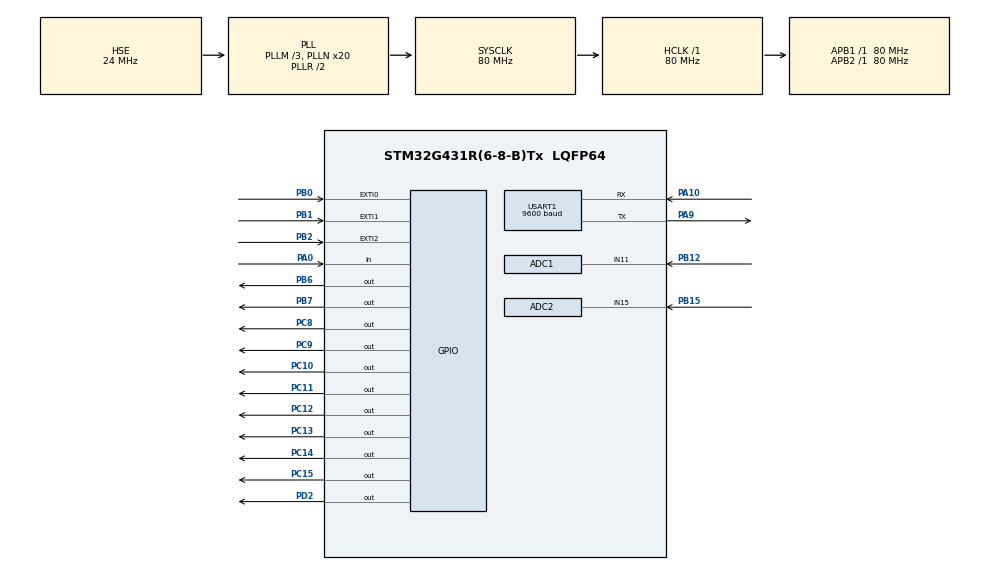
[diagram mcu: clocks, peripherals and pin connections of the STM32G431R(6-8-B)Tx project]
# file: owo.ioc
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ADC1.Channel-0\#ChannelRegularConversion=ADC_CHANNEL_11
ADC1.NbrOfConversionFlag=1
ADC1.OffsetNumber-0\#ChannelRegularConversion=ADC_OFFSET_NONE
ADC1.Rank-0\#ChannelRegularConversion=1
ADC1.SamplingTime-0\#ChannelRegularConversion=ADC_SAMPLETIME_2CYCLES_5
ADC1.master=1
ADC2.Channel-0\#ChannelRegularConversion=ADC_CHANNEL_15
ADC2.NbrOfConversionFlag=1
ADC2.OffsetNumber-0\#ChannelRegularConversion=ADC_OFFSET_NONE
ADC2.Rank-0\#ChannelRegularConversion=1
ADC2.SamplingTime-0\#ChannelRegularConversion=ADC_SAMPLETIME_2CYCLES_5
Dma.Request0=USART1_TX
Dma.Request1=USART1_RX
Dma.USART1_RX.1.Direction=DMA_PERIPH_TO_MEMORY
Dma.USART1_RX.1.EventEnable=DISABLE
Dma.USART1_RX.1.Instance=DMA1_Channel2
Dma.USART1_RX.1.MemDataAlignment=DMA_MDATAALIGN_BYTE
Dma.USART1_RX.1.MemInc=DMA_MINC_ENABLE
Dma.USART1_RX.1.Mode=DMA_NORMAL
Dma.USART1_RX.1.PeriphDataAlignment=DMA_PDATAALIGN_BYTE
Dma.USART1_RX.1.PeriphInc=DMA_PINC_DISABLE
Dma.USART1_RX.1.Polarity=HAL_DMAMUX_REQ_GEN_RISING
Dma.USART1_RX.1.Priority=DMA_PRIORITY_LOW
Dma.USART1_RX.1.RequestNumber=1
Dma.USART1_RX.1.SignalID=NONE
Dma.USART1_RX.1.SyncEnable=DISABLE
Dma.USART1_RX.1.SyncPolarity=HAL_DMAMUX_SYNC_NO_EVENT
Dma.USART1_RX.1.SyncRequestNumber=1
Dma.USART1_RX.1.SyncSignalID=NONE
Dma.USART1_TX.0.Direction=DMA_MEMORY_TO_PERIPH
Dma.USART1_TX.0.EventEnable=DISABLE
Dma.USART1_TX.0.Instance=DMA1_Channel1
Dma.USART1_TX.0.MemDataAlignment=DMA_MDATAALIGN_BYTE
Dma.USART1_TX.0.MemInc=DMA_MINC_ENABLE
Dma.USART1_TX.0.Mode=DMA_NORMAL
Dma.USART1_TX.0.PeriphDataAlignment=DMA_PDATAALIGN_BYTE
Dma.USART1_TX.0.PeriphInc=DMA_PINC_DISABLE
Dma.USART1_TX.0.Polarity=HAL_DMAMUX_REQ_GEN_RISING
Dma.USART1_TX.0.Priority=DMA_PRIORITY_LOW
Dma.USART1_TX.0.RequestNumber=1
Dma.USART1_TX.0.SignalID=NONE
Dma.USART1_TX.0.SyncEnable=DISABLE
Dma.USART1_TX.0.SyncPolarity=HAL_DMAMUX_SYNC_NO_EVENT
Dma.USART1_TX.0.SyncRequestNumber=1
Dma.USART1_TX.0.SyncSignalID=NONE
Mcu.Family=STM32G4
Mcu.Name=STM32G431R(6-8-B)Tx
Mcu.Package=LQFP64
NVIC.DMA1_Channel1_IRQn=true\:0\:0\:false\:false\:true\:false\:true
NVIC.DMA1_Channel2_IRQn=true\:0\:0\:false\:false\:true\:false\:true
NVIC.EXTI0_IRQn=true\:14\:0\:true\:false\:true\:true\:true
NVIC.EXTI1_IRQn=true\:15\:0\:true\:false\:true\:true\:true
NVIC.EXTI2_IRQn=true\:15\:0\:true\:false\:true\:true\:true
NVIC.PriorityGroup=NVIC_PRIORITYGROUP_4
NVIC.TIM1_BRK_TIM15_IRQn=true\:0\:0\:false\:false\:true\:true\:true
NVIC.TIM3_IRQn=true\:0\:0\:false\:false\:true\:true\:true
NVIC.USART1_IRQn=true\:15\:0\:true\:false\:true\:true\:true
PA0.Signal=GPIO_Input
PA10.Mode=Asynchronous
PA10.Signal=USART1_RX
PA13.Mode=Serial_Wire
PA13.Signal=SYS_JTMS-SWDIO
PA14.Mode=Serial_Wire
PA14.Signal=SYS_JTCK-SWCLK
PA9.Mode=Asynchronous
PA9.Signal=USART1_TX
PB0.GPIO_ModeDefaultEXTI=GPIO_MODE_IT_FALLING
PB0.Signal=GPXTI0
PB1.GPIO_ModeDefaultEXTI=GPIO_MODE_IT_FALLING
PB1.Signal=GPXTI1
PB12.Mode=IN11-Single-Ended
PB12.Signal=ADC1_IN11
PB15.Mode=IN15-Single-Ended
PB15.Signal=ADC2_IN15
PB2.GPIO_ModeDefaultEXTI=GPIO_MODE_IT_FALLING
PB2.Signal=GPXTI2
PB6.Signal=GPIO_Output
PB7.Signal=GPIO_Output
PC10.GPIO_ModeDefaultOutputPP=GPIO_MODE_OUTPUT_PP
PC10.PinState=GPIO_PIN_SET
PC10.Signal=GPIO_Output
PC11.GPIO_ModeDefaultOutputPP=GPIO_MODE_OUTPUT_PP
PC11.PinState=GPIO_PIN_SET
PC11.Signal=GPIO_Output
PC12.GPIO_ModeDefaultOutputPP=GPIO_MODE_OUTPUT_PP
PC12.PinState=GPIO_PIN_SET
PC12.Signal=GPIO_Output
PC13.GPIO_ModeDefaultOutputPP=GPIO_MODE_OUTPUT_PP
PC13.PinState=GPIO_PIN_SET
PC13.Signal=GPIO_Output
PC14-OSC32_IN.GPIO_ModeDefaultOutputPP=GPIO_MODE_OUTPUT_PP
PC14-OSC32_IN.PinState=GPIO_PIN_SET
PC14-OSC32_IN.Signal=GPIO_Output
PC15-OSC32_OUT.GPIO_ModeDefaultOutputPP=GPIO_MODE_OUTPUT_PP
PC15-OSC32_OUT.PinState=GPIO_PIN_SET
PC15-OSC32_OUT.Signal=GPIO_Output
PC8.GPIO_ModeDefaultOutputPP=GPIO_MODE_OUTPUT_PP
PC8.PinState=GPIO_PIN_SET
PC8.Signal=GPIO_Output
PC9.GPIO_ModeDefaultOutputPP=GPIO_MODE_OUTPUT_PP
PC9.PinState=GPIO_PIN_SET
PC9.Signal=GPIO_Output
PD2.Signal=GPIO_Output
PF0-OSC_IN.Mode=HSE-External-Oscillator
PF0-OSC_IN.Signal=RCC_OSC_IN
PF1-OSC_OUT.Mode=HSE-External-Oscillator
PF1-OSC_OUT.Signal=RCC_OSC_OUT
ProjectManager.HeapSize=0x200
ProjectManager.StackSize=0x400
ProjectManager.TargetToolchain=MDK-ARM V5.32
RCC.ADC12Freq_Value=80000000
RCC.AHBFreq_Value=80000000
RCC.APB1Freq_Value=80000000
RCC.APB1TimFreq_Value=80000000
RCC.APB2Freq_Value=80000000
RCC.APB2TimFreq_Value=80000000
RCC.CortexFreq_Value=80000000
RCC.EXTERNAL_CLOCK_VALUE=12288000
RCC.HCLKFreq_Value=80000000
RCC.HSE_VALUE=24000000
RCC.HSI48_VALUE=48000000
RCC.HSI_VALUE=16000000
RCC.LSE_VALUE=32768
RCC.PLLM=RCC_PLLM_DIV3
RCC.PLLN=20
RCC.PLLSourceVirtual=RCC_PLLSOURCE_HSE
RCC.SYSCLKFreq_VALUE=80000000
RCC.SYSCLKSource=RCC_SYSCLKSOURCE_PLLCLK
RCC.USBFreq_Value=80000000
RCC.VCOOutputFreq_Value=160000000
TIM15.PeriodNoDither=9999
TIM15.Prescaler=7999
TIM3.PeriodNoDither=10000
TIM3.Prescaler=79
USART1.BaudRate=9600
USART1.VirtualMode-Asynchronous=VM_ASYNC
VP_SYS_VS_DBSignals.Mode=DisableDeadBatterySignals
VP_TIM15_VS_ClockSourceINT.Mode=Internal
VP_TIM3_VS_ClockSourceINT.Mode=Internal
board=custom

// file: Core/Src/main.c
/* USER CODE BEGIN Header */
/**
  ******************************************************************************
  * @file           : main.c
  * @brief          : Main program body
  ******************************************************************************
  * @attention
  *
  * <h2><center>&copy; Copyright (c) 2024 STMicroelectronics.
  * All rights reserved.</center></h2>
  *
  * This software component is licensed by ST under BSD 3-Clause license,
  * the "License"; You may not use this file except in compliance with the
  * License. You may obtain a copy of the License at:
  *                        opensource.org/licenses/BSD-3-Clause
  *
  ******************************************************************************
  */
/* USER CODE END Header */
#include "main.h"
#include "adc.h"
#include "dma.h"
#include "tim.h"
#include "usart.h"
#include "gpio.h"

/* USER CODE BEGIN Includes */
extern uc16 ZN16x16_Table[];
uchar Lcd_Disp_String[20];
/* USER CODE END Includes */

/* USER CODE BEGIN PV */
uint8_t redat[10000];
int year=2024,mouth=7,day=12,week=5,hour=12,minute=5,s=0,tr=0;
int d[]={0,31,28,31,30,31,30,31,31,30,31,30,31};
char* st[]={{"s"},{"minute"},{"hour"},{"day"},{"mouth"},{"year"},{"week"}};
/* USER CODE END PV */

void SystemClock_Config(void);

int main(void)
{

  /* MCU Configuration--------------------------------------------------------*/

  /* Reset of all peripherals, Initializes the Flash interface and the Systick. */
  HAL_Init();

  /* Configure the system clock */
  SystemClock_Config();

  /* Initialize all configured peripherals */
  MX_GPIO_Init();
  MX_TIM3_Init();
  MX_USART1_UART_Init();
  MX_DMA_Init();
  MX_ADC1_Init();
  MX_ADC2_Init();
  MX_TIM15_Init();
  /* USER CODE BEGIN 2 */
  //MX_USART2_UART_Init();
	LCD_Init();
	LCD_Clear(White);
	I2CInit();
	HAL_UARTEx_ReceiveToIdle_DMA(&huart1,redat,10000);
	HAL_TIM_Base_Start_IT(&htim15);
  /* USER CODE END 2 */

  /* Infinite loop */
  while (1)
  {

    /* USER CODE BEGIN 3 */
		if(tr==7)tr=0;
		if(s==60)minute++,s=0;
		if(s<0)s=0;
		if(minute==60)hour++,minute=0;
		if(minute<0)minute=0;
		if(hour==24)day++,hour=0,week++;
		if(hour<0)hour=0;
		int y=year%100;
		int c=year/100;
		int m=mouth>=3?mouth:mouth+12;
		int da=day;
		week=y+(y/4)+(c/4)-2*c+(26*(m+1)/10)+da-1;
		week=(week-1)%7+1;
		if(day==d[mouth]+1)mouth++,day=1;
		if(day<1)day=1;
		if(mouth==13)year++,mouth=1;
		if(mouth==0)mouth=1;
		sprintf((char *)Lcd_Disp_String, "year:%d mouth:%d  ",year,mouth);
		LCD_DisplayStringLine(Line0, Lcd_Disp_String);
		sprintf((char *)Lcd_Disp_String, "day:%d week:%d",day,week);
		LCD_DisplayStringLine(Line1, Lcd_Disp_String);
		sprintf((char *)Lcd_Disp_String, "hour:%d minte:%d s:%d ",hour,minute,s);
		LCD_DisplayStringLine(Line7, Lcd_Disp_String);
		sprintf((char *)Lcd_Disp_String, "change:%s   ",st[tr]);
		LCD_DisplayStringLine(Line2, Lcd_Disp_String);
		sprintf((char *)Lcd_Disp_String, "clock:%d  %d ",(int)(getADC(&hadc1)*10),(int)(getADC(&hadc2)*10));
		LCD_DisplayStringLine(Line5, Lcd_Disp_String);
		if(mouth==(int)(getADC(&hadc1)*10)&&day==(int)(getADC(&hadc2)*10)){
			if(s&1)ctrl(0xff);
			else ctrl(0);
		}
		else ctrl(0);
		cout(Line9,319,13);
		cout(Line9,303,14);
		cout(Line9,319-2*16,15);
		if(mouth>10){
			cout(Line9,319-3*16,10);
			cout(Line9,319-4*16,mouth%10);
		}
		else cout(Line9,319-3*16,mouth);
		cout(Line9,319-5*16,12);
		if(day==20)cout(Line9,319-10*16,2),cout(Line9,319-11*16,10);
		else {
			if(day<=10)cout(Line9,319-10*16,0);
			else if(day>20)cout(Line9,319-10*16,11);
			else cout(Line9,319-10*16,10);
			cout(Line9,319-11*16,day%10);
		}
  }
  /* USER CODE END 3 */
}

void SystemClock_Config(void)
{
  RCC_OscInitTypeDef RCC_OscInitStruct = {0};
  RCC_ClkInitTypeDef RCC_ClkInitStruct = {0};
  RCC_PeriphCLKInitTypeDef PeriphClkInit = {0};

  /** Configure the main internal regulator output voltage
  */
  HAL_PWREx_ControlVoltageScaling(PWR_REGULATOR_VOLTAGE_SCALE1);
  /** Initializes the RCC Oscillators according to the specified parameters
  * in the RCC_OscInitTypeDef structure.
  */
  RCC_OscInitStruct.OscillatorType = RCC_OSCILLATORTYPE_HSE;
  RCC_OscInitStruct.HSEState = RCC_HSE_ON;
  RCC_OscInitStruct.PLL.PLLState = RCC_PLL_ON;
  RCC_OscInitStruct.PLL.PLLSource = RCC_PLLSOURCE_HSE;
  RCC_OscInitStruct.PLL.PLLM = RCC_PLLM_DIV3;
  RCC_OscInitStruct.PLL.PLLN = 20;
  RCC_OscInitStruct.PLL.PLLP = RCC_PLLP_DIV2;
  RCC_OscInitStruct.PLL.PLLQ = RCC_PLLQ_DIV2;
  RCC_OscInitStruct.PLL.PLLR = RCC_PLLR_DIV2;
  if (HAL_RCC_OscConfig(&RCC_OscInitStruct) != HAL_OK)
  {
    Error_Handler();
  }
  /** Initializes the CPU, AHB and APB buses clocks
  */
  RCC_ClkInitStruct.ClockType = RCC_CLOCKTYPE_HCLK|RCC_CLOCKTYPE_SYSCLK
                              |RCC_CLOCKTYPE_PCLK1|RCC_CLOCKTYPE_PCLK2;
  RCC_ClkInitStruct.SYSCLKSource = RCC_SYSCLKSOURCE_PLLCLK;
  RCC_ClkInitStruct.AHBCLKDivider = RCC_SYSCLK_DIV1;
  RCC_ClkInitStruct.APB1CLKDivider = RCC_HCLK_DIV1;
  RCC_ClkInitStruct.APB2CLKDivider = RCC_HCLK_DIV1;

  if (HAL_RCC_ClockConfig(&RCC_ClkInitStruct, FLASH_LATENCY_2) != HAL_OK)
  {
    Error_Handler();
  }
  /** Initializes the peripherals clocks
  */
  PeriphClkInit.PeriphClockSelection = RCC_PERIPHCLK_USART1|RCC_PERIPHCLK_ADC12;
  PeriphClkInit.Usart1ClockSelection = RCC_USART1CLKSOURCE_PCLK2;
  PeriphClkInit.Adc12ClockSelection = RCC_ADC12CLKSOURCE_SYSCLK;
  if (HAL_RCCEx_PeriphCLKConfig(&PeriphClkInit) != HAL_OK)
  {
    Error_Handler();
  }
}

void Error_Handler(void)
{
  /* USER CODE BEGIN Error_Handler_Debug */
  /* User can add his own imp
	lementation to report the HAL error return state */
  __disable_irq();
  while (1)
  {
  }
  /* USER CODE END Error_Handler_Debug */
}

/************************ (C) COPYRIGHT STMicroelectronics *****END OF FILE****/
